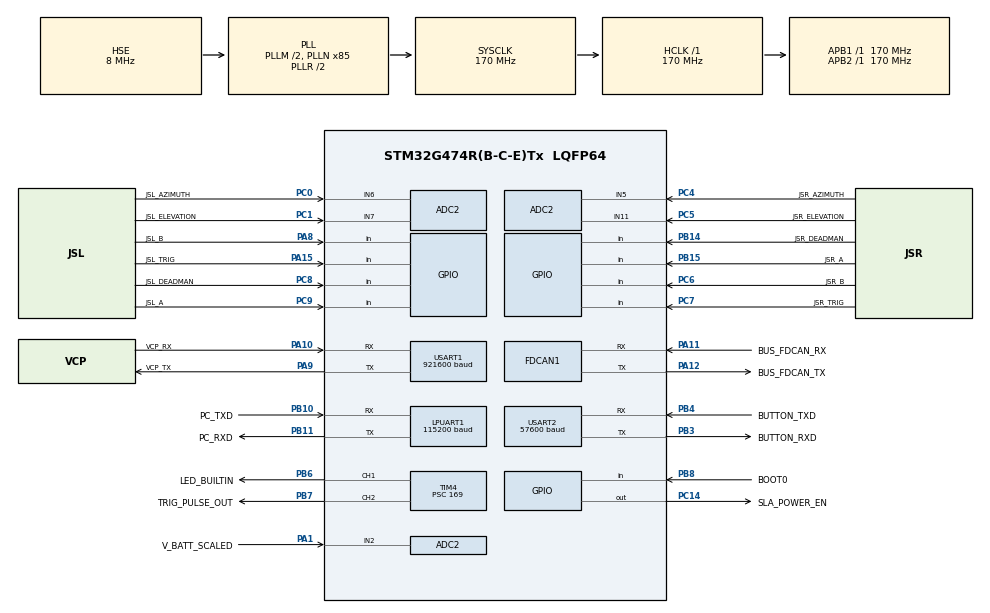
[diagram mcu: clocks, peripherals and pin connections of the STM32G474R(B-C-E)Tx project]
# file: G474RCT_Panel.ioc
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ADC2.Channel-0\#ChannelRegularConversion=ADC_CHANNEL_5
ADC2.Channel-1\#ChannelRegularConversion=ADC_CHANNEL_11
ADC2.Channel-2\#ChannelRegularConversion=ADC_CHANNEL_6
ADC2.Channel-3\#ChannelRegularConversion=ADC_CHANNEL_7
ADC2.Channel-4\#ChannelRegularConversion=ADC_CHANNEL_2
ADC2.ContinuousConvMode=DISABLE
ADC2.DMAContinuousRequests=ENABLE
ADC2.EOCSelection=ADC_EOC_SEQ_CONV
ADC2.ExternalTrigConv=ADC_EXTERNALTRIG_T2_TRGO
ADC2.NbrOfConversion=5
ADC2.NbrOfConversionFlag=1
ADC2.OffsetNumber-0\#ChannelRegularConversion=ADC_OFFSET_NONE
ADC2.OffsetNumber-1\#ChannelRegularConversion=ADC_OFFSET_NONE
ADC2.OffsetNumber-2\#ChannelRegularConversion=ADC_OFFSET_NONE
ADC2.OffsetNumber-3\#ChannelRegularConversion=ADC_OFFSET_NONE
ADC2.OffsetNumber-4\#ChannelRegularConversion=ADC_OFFSET_NONE
ADC2.Rank-0\#ChannelRegularConversion=1
ADC2.Rank-1\#ChannelRegularConversion=2
ADC2.Rank-2\#ChannelRegularConversion=3
ADC2.Rank-3\#ChannelRegularConversion=4
ADC2.Rank-4\#ChannelRegularConversion=5
ADC2.SamplingTime-0\#ChannelRegularConversion=ADC_SAMPLETIME_24CYCLES_5
ADC2.SamplingTime-1\#ChannelRegularConversion=ADC_SAMPLETIME_2CYCLES_5
ADC2.SamplingTime-2\#ChannelRegularConversion=ADC_SAMPLETIME_24CYCLES_5
ADC2.SamplingTime-3\#ChannelRegularConversion=ADC_SAMPLETIME_24CYCLES_5
ADC2.SamplingTime-4\#ChannelRegularConversion=ADC_SAMPLETIME_24CYCLES_5
Dma.ADC2.0.Direction=DMA_PERIPH_TO_MEMORY
Dma.ADC2.0.EventEnable=DISABLE
Dma.ADC2.0.Instance=DMA1_Channel1
Dma.ADC2.0.MemDataAlignment=DMA_MDATAALIGN_WORD
Dma.ADC2.0.MemInc=DMA_MINC_ENABLE
Dma.ADC2.0.Mode=DMA_CIRCULAR
Dma.ADC2.0.PeriphDataAlignment=DMA_PDATAALIGN_WORD
Dma.ADC2.0.PeriphInc=DMA_PINC_DISABLE
Dma.ADC2.0.Polarity=HAL_DMAMUX_REQ_GEN_RISING
Dma.ADC2.0.Priority=DMA_PRIORITY_LOW
Dma.ADC2.0.RequestNumber=1
Dma.ADC2.0.SignalID=NONE
Dma.ADC2.0.SyncEnable=DISABLE
Dma.ADC2.0.SyncPolarity=HAL_DMAMUX_SYNC_NO_EVENT
Dma.ADC2.0.SyncRequestNumber=1
Dma.ADC2.0.SyncSignalID=NONE
Dma.Request0=ADC2
FDCAN1.AutoRetransmission=DISABLE
FDCAN1.ClockDivider=FDCAN_CLOCK_DIV2
FDCAN1.DataPrescaler=1
FDCAN1.DataSyncJumpWidth=8
FDCAN1.DataTimeSeg1=8
FDCAN1.DataTimeSeg2=8
FDCAN1.ExtFiltersNbr=8
FDCAN1.FrameFormat=FDCAN_FRAME_FD_BRS
FDCAN1.NominalPrescaler=1
FDCAN1.NominalSyncJumpWidth=22
FDCAN1.NominalTimeSeg1=147
FDCAN1.NominalTimeSeg2=22
FDCAN1.StdFiltersNbr=28
FDCAN1.TransmitPause=DISABLE
LPUART1.BaudRate=115200
LPUART1.SwapParam=UART_ADVFEATURE_SWAP_DISABLE
Mcu.Family=STM32G4
Mcu.Name=STM32G474R(B-C-E)Tx
Mcu.Package=LQFP64
Mcu.UserConstants=TIM4_ON,1000;LED_CH,TIM_CHANNEL_1;TRIG_CH,TIM_CHANNEL_2;TIM4_OFF,0
NVIC.ADC1_2_IRQn=true\:9\:0\:true\:false\:true\:true\:true\:true
NVIC.DMA1_Channel1_IRQn=true\:8\:0\:true\:false\:true\:false\:true\:true
NVIC.FDCAN1_IT0_IRQn=true\:6\:0\:true\:false\:true\:true\:true\:true
NVIC.LPUART1_IRQn=true\:7\:0\:true\:false\:false\:true\:true\:true
NVIC.PriorityGroup=NVIC_PRIORITYGROUP_4
NVIC.TIM3_IRQn=true\:5\:0\:true\:false\:false\:true\:true\:true
NVIC.USART1_IRQn=true\:15\:0\:true\:false\:false\:true\:true\:true
NVIC.USART2_IRQn=true\:10\:0\:true\:false\:false\:true\:true\:true
PA1.GPIO_Label=V_BATT_SCALED
PA1.Signal=SharedAnalog_PA1
PA10.GPIO_Label=VCP_RX
PA10.GPIO_PuPd=GPIO_PULLUP
PA10.GPIO_Speed=GPIO_SPEED_FREQ_VERY_HIGH
PA10.Mode=Asynchronous
PA10.Signal=USART1_RX
PA11.GPIO_Label=BUS_FDCAN_RX
PA11.GPIO_PuPd=GPIO_PULLUP
PA11.GPIO_Speed=GPIO_SPEED_FREQ_VERY_HIGH
PA11.Mode=FDCAN_Activate
PA11.Signal=FDCAN1_RX
PA12.GPIO_Label=BUS_FDCAN_TX
PA12.GPIO_PuPd=GPIO_PULLUP
PA12.GPIO_Speed=GPIO_SPEED_FREQ_VERY_HIGH
PA12.Mode=FDCAN_Activate
PA12.Signal=FDCAN1_TX
PA13.GPIO_Label=SWDIO
PA13.Mode=Serial_Wire
PA13.Signal=SYS_JTMS-SWDIO
PA14.GPIO_Label=SWCLK
PA14.Mode=Serial_Wire
PA14.Signal=SYS_JTCK-SWCLK
PA15.GPIO_Label=JSL_TRIG
PA15.GPIO_PuPd=GPIO_PULLUP
PA15.Signal=GPIO_Input
PA2.GPIO_Label=XROM_NCS
PA2.GPIO_Speed=GPIO_SPEED_FREQ_VERY_HIGH
PA2.Signal=QUADSPI1_BK1_NCS
PA3.GPIO_Label=XROM_CLK
PA3.GPIO_Speed=GPIO_SPEED_FREQ_VERY_HIGH
PA3.Signal=QUADSPI1_CLK
PA6.GPIO_Label=XROM_IO3
PA6.GPIO_Speed=GPIO_SPEED_FREQ_VERY_HIGH
PA6.Signal=QUADSPI1_BK1_IO3
PA7.GPIO_Label=XROM_IO2
PA7.GPIO_Speed=GPIO_SPEED_FREQ_VERY_HIGH
PA7.Signal=QUADSPI1_BK1_IO2
PA8.GPIO_Label=JSL_B
PA8.GPIO_PuPd=GPIO_PULLUP
PA8.Signal=GPIO_Input
PA9.GPIO_Label=VCP_TX
PA9.GPIO_Speed=GPIO_SPEED_FREQ_VERY_HIGH
PA9.Mode=Asynchronous
PA9.Signal=USART1_TX
PB0.GPIO_Label=XROM_IO1
PB0.GPIO_Speed=GPIO_SPEED_FREQ_VERY_HIGH
PB0.Signal=QUADSPI1_BK1_IO1
PB1.GPIO_Label=XROM_IO0
PB1.GPIO_Speed=GPIO_SPEED_FREQ_VERY_HIGH
PB1.Signal=QUADSPI1_BK1_IO0
PB10.GPIO_Label=PC_TXD
PB10.GPIO_PuPd=GPIO_PULLUP
PB10.GPIO_Speed=GPIO_SPEED_FREQ_VERY_HIGH
PB10.Mode=Asynchronous
PB10.Signal=LPUART1_RX
PB11.GPIO_Label=PC_RXD
PB11.GPIO_PuPd=GPIO_NOPULL
PB11.GPIO_Speed=GPIO_SPEED_FREQ_VERY_HIGH
PB11.Mode=Asynchronous
PB11.Signal=LPUART1_TX
PB12.GPIO_Label=OTHER_CAN_RX
PB12.Signal=FDCAN2_RX
PB13.GPIO_Label=OTHER_CAN_TX
PB13.Signal=FDCAN2_TX
PB14.GPIO_Label=JSR_DEADMAN
PB14.GPIO_PuPd=GPIO_PULLUP
PB14.Signal=GPIO_Input
PB15.GPIO_Label=JSR_A
PB15.GPIO_PuPd=GPIO_PULLUP
PB15.Signal=GPIO_Input
PB3.GPIO_Label=BUTTON_RXD
PB3.GPIO_PuPd=GPIO_PULLUP
PB3.GPIO_Speed=GPIO_SPEED_FREQ_VERY_HIGH
PB3.Mode=Asynchronous
PB3.Signal=USART2_TX
PB4.GPIO_Label=BUTTON_TXD
PB4.GPIO_PuPd=GPIO_PULLUP
PB4.GPIO_Speed=GPIO_SPEED_FREQ_VERY_HIGH
PB4.Mode=Asynchronous
PB4.Signal=USART2_RX
PB6.GPIO_Label=LED_BUILTIN
PB6.GPIO_Speed=GPIO_SPEED_FREQ_VERY_HIGH
PB6.Signal=S_TIM4_CH1
PB7.GPIO_FM7=SYSCFG_FASTMODEPLUS_PB7
PB7.GPIO_Label=TRIG_PULSE_OUT
PB7.GPIO_Speed=GPIO_SPEED_FREQ_VERY_HIGH
PB7.Signal=S_TIM4_CH2
PB8-BOOT0.GPIO_Label=BOOT0
PB8-BOOT0.Signal=GPIO_Input
PC0.GPIO_Label=JSL_AZIMUTH
PC0.Mode=IN6-Single-Ended
PC0.Signal=ADC2_IN6
PC1.GPIO_Label=JSL_ELEVATION
PC1.Mode=IN7-Single-Ended
PC1.Signal=ADC2_IN7
PC13.Signal=SYS_WKUP2
PC14-OSC32_IN.GPIO_Label=SLA_POWER_EN
PC14-OSC32_IN.GPIO_PuPd=GPIO_PULLDOWN
PC14-OSC32_IN.Signal=GPIO_Output
PC4.GPIO_Label=JSR_AZIMUTH
PC4.Mode=IN5-Single-Ended
PC4.Signal=ADC2_IN5
PC5.GPIO_Label=JSR_ELEVATION
PC5.Mode=IN11-Single-Ended
PC5.Signal=ADC2_IN11
PC6.GPIO_Label=JSR_B
PC6.GPIO_PuPd=GPIO_PULLUP
PC6.Signal=GPIO_Input
PC7.GPIO_Label=JSR_TRIG
PC7.GPIO_PuPd=GPIO_PULLUP
PC7.Signal=GPIO_Input
PC8.GPIO_Label=JSL_DEADMAN
PC8.GPIO_PuPd=GPIO_PULLUP
PC8.Signal=GPIO_Input
PC9.GPIO_Label=JSL_A
PC9.GPIO_PuPd=GPIO_PULLUP
PC9.Signal=GPIO_Input
PF0-OSC_IN.Mode=HSE-External-Oscillator
PF0-OSC_IN.Signal=RCC_OSC_IN
PF1-OSC_OUT.Mode=HSE-External-Oscillator
PF1-OSC_OUT.Signal=RCC_OSC_OUT
ProjectManager.HeapSize=0x200
ProjectManager.StackSize=0x400
ProjectManager.TargetToolchain=STM32CubeIDE
RCC.ADC12Freq_Value=170000000
RCC.ADC345Freq_Value=170000000
RCC.AHBFreq_Value=170000000
RCC.APB1Freq_Value=170000000
RCC.APB1TimFreq_Value=170000000
RCC.APB2Freq_Value=170000000
RCC.APB2TimFreq_Value=170000000
RCC.CortexFreq_Value=170000000
RCC.EXTERNAL_CLOCK_VALUE=12288000
RCC.EnbaleCSS=true
RCC.HCLKFreq_Value=170000000
RCC.HSE_VALUE=8000000
RCC.HSI48_VALUE=48000000
RCC.HSI_VALUE=16000000
RCC.LSE_VALUE=32768
RCC.PLLM=RCC_PLLM_DIV2
RCC.PLLN=85
RCC.PLLSourceVirtual=RCC_PLLSOURCE_HSE
RCC.SYSCLKFreq_VALUE=170000000
RCC.SYSCLKSource=RCC_SYSCLKSOURCE_PLLCLK
RCC.USBFreq_Value=170000000
RCC.VCOOutputFreq_Value=340000000
SH.S_TIM4_CH1.0=TIM4_CH1,PWM Generation1 CH1
SH.S_TIM4_CH2.0=TIM4_CH2,PWM Generation2 CH2
SH.SharedAnalog_PA1.0=ADC1_IN2
SH.SharedAnalog_PA1.1=ADC2_IN2,IN2-Single-Ended
TIM2.PeriodNoDither=999
TIM2.Prescaler=1699
TIM2.TIM_MasterOutputTrigger=TIM_TRGO_UPDATE
TIM3.PeriodNoDither=9999
TIM3.Prescaler=16999
TIM4.Channel-PWM\ Generation1\ CH1=TIM_CHANNEL_1
TIM4.Channel-PWM\ Generation2\ CH2=TIM_CHANNEL_2
TIM4.PeriodNoDither=TIM4_ON-1
TIM4.Prescaler=169
TIM4.PulseNoDither_2=TIM4_OFF
USART1.BaudRate=921600
USART1.VirtualMode-Asynchronous=VM_ASYNC
USART2.BaudRate=57600
USART2.VirtualMode-Asynchronous=VM_ASYNC
VP_SYS_VS_DBSignals.Mode=DisableDeadBatterySignals
VP_SYS_V_VREFBUF.Mode=ExternalMode
VP_TIM2_VS_ClockSourceINT.Mode=Internal
VP_TIM3_VS_ClockSourceINT.Mode=Internal
VP_TIM4_VS_ClockSourceINT.Mode=Internal
board=custom

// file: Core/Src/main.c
/* USER CODE BEGIN Header */
/**
 ******************************************************************************
 * @file           : main.c
 * @brief          : Main program body
 ******************************************************************************
 * @attention
 *
 * <h2><center>&copy; Copyright (c) 2021 STMicroelectronics.
 * All rights reserved.</center></h2>
 *
 * This software component is licensed by ST under BSD 3-Clause license,
 * the "License"; You may not use this file except in compliance with the
 * License. You may obtain a copy of the License at:
 *                        opensource.org/licenses/BSD-3-Clause
 *
 ******************************************************************************
 */
/* USER CODE END Header */
#include "main.h"
#include "adc.h"
#include "dma.h"
#include "fdcan.h"
#include "usart.h"
#include "tim.h"
#include "gpio.h"

/* USER CODE BEGIN Includes */
#include <stdio.h>
#include <string.h>

#include "busPanel.h"
#include "Button.h"
#include "pc.h"
#include "movement.h"
/* USER CODE END Includes */

void SystemClock_Config(void);
/* USER CODE BEGIN PFP */
//static void PVD_Config(void);
/* USER CODE END PFP */

int main(void)
{
	/* USER CODE BEGIN 1 */
	char buf[RING_BUFFER_TX_SIZE];
	uint16_t bufLen;
	/* USER CODE END 1 */

	/* MCU Configuration--------------------------------------------------------*/

	/* Reset of all peripherals, Initializes the Flash interface and the Systick. */
	HAL_Init();

	/* Configure the system clock */
	SystemClock_Config();

	/* Initialize all configured peripherals */
	MX_GPIO_Init();
	MX_TIM4_Init();
	MX_USART1_UART_Init();
	MX_USART2_UART_Init();
	MX_LPUART1_UART_Init();
	MX_FDCAN1_Init();
	MX_TIM2_Init();
	MX_DMA_Init();
	MX_ADC2_Init();
	MX_TIM3_Init();
	/* USER CODE BEGIN 2 */
	/* TODO Begin Init*/
	HAL_TIM_PWM_Start(&htim4, LED_CH);
	HAL_TIM_PWM_Start(&htim4, TRIG_CH);
	tim4_out_on(LED_CH);
	tim4_out_off(TRIG_CH);

	uartInitDebug();
	bufLen = sprintf(buf, "Main Panel Firmware!\r\n");
	serial_write_str(&debug, buf, bufLen);

	move_init();
	button_init();
	bus_init(&hfdcan1);
	pc_init();

//	PVD_Config();
	/* USER CODE END 2 */

	/* Infinite loop */
	while (1) {

		/* USER CODE BEGIN 3 */
		/* TODO BEGIN LOOP*/

//		if (bus.motorWeaponStatus.weaponStatus.triggerEnable == 1) {
//			if (((button.JRight.button.deadman == 1) || (button.JLeft.button.deadman == 1))
//					&& button.JRight.button.trigger == 1)
//				WEAPON_ON();
//			else
//				WEAPON_OFF();
//		}
//		else
//			WEAPON_OFF();
		move_handler();
		button_handler();
		bus_handler();
		pc_handler();

		/* TODO END LOOP*/
	}
	/* USER CODE END 3 */
}

void SystemClock_Config(void)
{
	RCC_OscInitTypeDef RCC_OscInitStruct = { 0 };
	RCC_ClkInitTypeDef RCC_ClkInitStruct = { 0 };

	/** Configure the main internal regulator output voltage
	 */
	HAL_PWREx_ControlVoltageScaling(PWR_REGULATOR_VOLTAGE_SCALE1_BOOST);

	/** Initializes the RCC Oscillators according to the specified parameters
	 * in the RCC_OscInitTypeDef structure.
	 */
	RCC_OscInitStruct.OscillatorType = RCC_OSCILLATORTYPE_HSE;
	RCC_OscInitStruct.HSEState = RCC_HSE_ON;
	RCC_OscInitStruct.PLL.PLLState = RCC_PLL_ON;
	RCC_OscInitStruct.PLL.PLLSource = RCC_PLLSOURCE_HSE;
	RCC_OscInitStruct.PLL.PLLM = RCC_PLLM_DIV2;
	RCC_OscInitStruct.PLL.PLLN = 85;
	RCC_OscInitStruct.PLL.PLLP = RCC_PLLP_DIV2;
	RCC_OscInitStruct.PLL.PLLQ = RCC_PLLQ_DIV2;
	RCC_OscInitStruct.PLL.PLLR = RCC_PLLR_DIV2;
	if (HAL_RCC_OscConfig(&RCC_OscInitStruct) != HAL_OK) {
		Error_Handler();
	}

	/** Initializes the CPU, AHB and APB buses clocks
	 */
	RCC_ClkInitStruct.ClockType = RCC_CLOCKTYPE_HCLK | RCC_CLOCKTYPE_SYSCLK | RCC_CLOCKTYPE_PCLK1 | RCC_CLOCKTYPE_PCLK2;
	RCC_ClkInitStruct.SYSCLKSource = RCC_SYSCLKSOURCE_PLLCLK;
	RCC_ClkInitStruct.AHBCLKDivider = RCC_SYSCLK_DIV1;
	RCC_ClkInitStruct.APB1CLKDivider = RCC_HCLK_DIV1;
	RCC_ClkInitStruct.APB2CLKDivider = RCC_HCLK_DIV1;

	if (HAL_RCC_ClockConfig(&RCC_ClkInitStruct, FLASH_LATENCY_4) != HAL_OK) {
		Error_Handler();
	}

	/** Enables the Clock Security System
	 */
	HAL_RCC_EnableCSS();
}

/* USER CODE BEGIN 4 */
/* TODO USER FUNCTIONS*/
//
///**
// * @brief  Configures the PVD resources.
// * @param  None
// * @retval None
// */
//static void PVD_Config(void)
//{
//	PWR_PVDTypeDef sConfigPVD;
//
//	/*##-1- Enable Power Clock #################################################*/
//	/* Enable Power Clock */
//	__HAL_RCC_PWR_CLK_ENABLE();
//
////	/*##-2- Configure the NVIC for PVD #########################################*/
////	HAL_NVIC_SetPriority(PVD_PVM_IRQn, 0, 0);
////	HAL_NVIC_EnableIRQ(PVD_PVM_IRQn);
//
//	/* Configure the PVD Level to 3 and generate an interrupt on rising and falling
//	 edges(PVD detection level set to 2.5V, refer to the electrical characteristics
//	 of you device datasheet for more details) */
//	sConfigPVD.PVDLevel = PWR_PVDLEVEL_6;
////	sConfigPVD.Mode = PWR_PVD_MODE_IT_RISING_FALLING;
//	sConfigPVD.Mode = PWR_PVD_MODE_IT_RISING; /* trap only when power is down */
//	HAL_PWR_ConfigPVD(&sConfigPVD);
//
//	/* Enable the PVD Output */
//	HAL_PWR_EnablePVD();
//}
//
///**
// * @brief  PWR PVD interrupt callback
// * @param  none
// * @retval none
// */
//void HAL_PWR_PVDCallback(void)
//{
//	HAL_ADC_MspDeInit(&hadc2);
//	HAL_TIM_Base_MspDeInit(&htim2);
//	HAL_FDCAN_MspDeInit(&hfdcan1);
//	HAL_UART_MspDeInit(&hlpuart1);
//	HAL_UART_MspDeInit(&huart2);
//	HAL_UART_MspDeInit(&huart1);
//
//	tim4_out_on(LED_CH);
//}
//
////void PVD_PVM_IRQHandler(void)
////{
////	/* Check PWR Exti flag */
////	if (__HAL_PWR_PVD_EXTI_GET_FLAG() != RESET) {
////		/* PWR PVD interrupt user callback */
////		HAL_PWR_PVDCallback();
////
////		/* Clear PWR Exti pending bit */
////		__HAL_PWR_PVD_EXTI_CLEAR_FLAG();
////	}
////}
/* TODO end user function*/
/* USER CODE END 4 */

void Error_Handler(void)
{
	/* USER CODE BEGIN Error_Handler_Debug */
	/* User can add his own implementation to report the HAL error return state */
	HAL_GPIO_WritePin(LED_BUILTIN_GPIO_Port, LED_BUILTIN_Pin, GPIO_PIN_SET);
	__disable_irq();
	while (1) {
	}
	/* USER CODE END Error_Handler_Debug */
}
